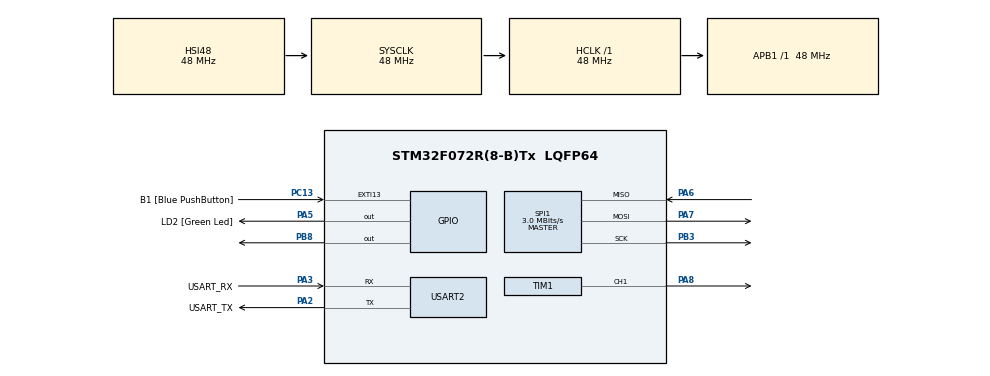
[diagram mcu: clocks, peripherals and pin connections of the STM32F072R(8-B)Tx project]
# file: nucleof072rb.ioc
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Mcu.Family=STM32F0
Mcu.Name=STM32F072R(8-B)Tx
Mcu.Package=LQFP64
PA13.GPIO_Label=TMS
PA13.Mode=Serial_Wire
PA13.Signal=SYS_SWDIO
PA14.GPIO_Label=TCK
PA14.Mode=Serial_Wire
PA14.Signal=SYS_SWCLK
PA2.GPIO_Label=USART_TX
PA2.GPIO_Mode=GPIO_MODE_AF_PP
PA2.GPIO_PuPd=GPIO_NOPULL
PA2.GPIO_Speed=GPIO_SPEED_FREQ_LOW
PA2.Mode=Asynchronous
PA2.Signal=USART2_TX
PA3.GPIO_Label=USART_RX
PA3.GPIO_Mode=GPIO_MODE_AF_PP
PA3.GPIO_PuPd=GPIO_NOPULL
PA3.GPIO_Speed=GPIO_SPEED_FREQ_LOW
PA3.Mode=Asynchronous
PA3.Signal=USART2_RX
PA5.GPIO_Label=LD2 [Green Led]
PA5.GPIO_Mode=GPIO_MODE_OUTPUT_PP
PA5.GPIO_PuPd=GPIO_NOPULL
PA5.GPIO_Speed=GPIO_SPEED_FREQ_LOW
PA5.Signal=GPIO_Output
PA6.Mode=Full_Duplex_Master
PA6.Signal=SPI1_MISO
PA7.Mode=Full_Duplex_Master
PA7.Signal=SPI1_MOSI
PA8.Signal=S_TIM1_CH1
PB3.Mode=Full_Duplex_Master
PB3.Signal=SPI1_SCK
PB8.Signal=GPIO_Output
PC13.GPIO_Label=B1 [Blue PushButton]
PC13.GPIO_ModeDefaultEXTI=GPIO_MODE_IT_FALLING
PC13.Signal=GPXTI13
PC14-OSC32_IN.Mode=LSE-External-Oscillator
PC14-OSC32_IN.Signal=RCC_OSC32_IN
PC15-OSC32_OUT.Mode=LSE-External-Oscillator
PC15-OSC32_OUT.Signal=RCC_OSC32_OUT
PF0-OSC_IN.Mode=HSE-External-Clock-Source
PF0-OSC_IN.Signal=RCC_OSC_IN
PF1-OSC_OUT.Signal=RCC_OSC_OUT
ProjectManager.HeapSize=0x200
ProjectManager.StackSize=0x400
ProjectManager.TargetToolchain=STM32CubeIDE
RCC.AHBFreq_Value=48000000
RCC.APB1Freq_Value=48000000
RCC.APB1TimFreq_Value=48000000
RCC.FLatency-AdvancedSettings=FLASH_LATENCY_1
RCC.HCLKFreq_Value=48000000
RCC.PLLDivider=RCC_PREDIV_DIV2
RCC.PLLMUL=RCC_PLL_MUL12
RCC.PREFETCH_ENABLE-AdvancedSettings=1
RCC.SYSCLKFreq_VALUE=48000000
RCC.SYSCLKSource=RCC_SYSCLKSOURCE_HSI48
SH.S_TIM1_CH1.0=TIM1_CH1,PWM Generation1 CH1
SPI1.BaudRatePrescaler=SPI_BAUDRATEPRESCALER_16
SPI1.CLKPhase=SPI_PHASE_1EDGE
SPI1.CalculateBaudRate=3.0 MBits/s
SPI1.DataSize=SPI_DATASIZE_8BIT
SPI1.Direction=SPI_DIRECTION_2LINES
SPI1.Mode=SPI_MODE_MASTER
SPI1.VirtualType=VM_MASTER
TIM1.Channel-PWM\ Generation1\ CH1=TIM_CHANNEL_1
TIM1.Period=60000
TIM1.Prescaler=15
USART2.VirtualMode=VM_ASYNC
USART2.VirtualMode-Asynchronous=VM_ASYNC
VP_TIM1_VS_ClockSourceINT.Mode=Internal
board=NUCLEO-F072RB

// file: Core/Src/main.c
/* USER CODE BEGIN Header */
/**
  ******************************************************************************
  * @file           : main.c
  * @brief          : Main program body
  ******************************************************************************
  * @attention
  *
  * <h2><center>&copy; Copyright (c) 2021 STMicroelectronics.
  * All rights reserved.</center></h2>
  *
  * This software component is licensed by ST under BSD 3-Clause license,
  * the "License"; You may not use this file except in compliance with the
  * License. You may obtain a copy of the License at:
  *                        opensource.org/licenses/BSD-3-Clause
  *
  ******************************************************************************
  */
/* USER CODE END Header */
#include "main.h"
#include "spi.h"
#include "tim.h"
#include "usart.h"
#include "gpio.h"

/* USER CODE BEGIN PV */

// We choose a prescaler of 14 so that we can have a higher resolution in our duty cycle
#define COUNTER_PERIOD 64000

#define MAX_ADC 1023
/* USER CODE END PV */

void SystemClock_Config(void);

int main(void)
{

  /* MCU Configuration--------------------------------------------------------*/

  /* Reset of all peripherals, Initializes the Flash interface and the Systick. */
  HAL_Init();

  /* Configure the system clock */
  SystemClock_Config();

  /* Initialize all configured peripherals */
  MX_GPIO_Init();
  MX_USART2_UART_Init();
  MX_SPI1_Init();
  MX_TIM1_Init();
  /* USER CODE BEGIN 2 */

  // The transmit buffer includes start bit, the bit to select channel 0 on single end, and the dont care bits, refer to figure 6-1
  uint8_t tx_buff[3] = {0x1, 0x80, 0x0};
  // The receive buffer is empty until we receive the data
  uint8_t rx_buff[3] = {0, 0, 0};

  HAL_TIM_PWM_Start(&htim1, TIM_CHANNEL_1);

  uint16_t steps_active = 3200;
  __HAL_TIM_SET_COMPARE(&htim1, TIM_CHANNEL_1, steps_active);

  HAL_GPIO_WritePin(GPIOB, GPIO_PIN_8, GPIO_PIN_SET);

  /* USER CODE END 2 */

  /* Infinite loop */
  while (1)
  {
    /* USER CODE BEGIN 3 */

	// Since chip select is active low we set it to low
	HAL_GPIO_WritePin(GPIOB, GPIO_PIN_8, GPIO_PIN_RESET);

	// now transmit data and receive the 10 bits
	HAL_SPI_TransmitReceive(&hspi1, tx_buff, rx_buff, 3, HAL_MAX_DELAY);

	HAL_GPIO_WritePin(GPIOB, GPIO_PIN_8, GPIO_PIN_SET); // Set cs to high again

	// Calculate the count needed, the SPI max signal is 10 bits so the max value is 2047
	uint16_t pot_input = ((rx_buff[1] & 0b11) << 8) | (rx_buff[2]);

	// Calculate the steps active for the pwm control
	steps_active = 3200 + 3200 * (pot_input/MAX_ADC) ;

	// Set the pwm output to the motor
	__HAL_TIM_SET_COMPARE(&htim1, TIM_CHANNEL_1, steps_active);

	HAL_Delay(10);

  }
  /* USER CODE END 3 */
}

void SystemClock_Config(void)
{
  RCC_OscInitTypeDef RCC_OscInitStruct = {0};
  RCC_ClkInitTypeDef RCC_ClkInitStruct = {0};
  RCC_PeriphCLKInitTypeDef PeriphClkInit = {0};

  /** Initializes the RCC Oscillators according to the specified parameters
  * in the RCC_OscInitTypeDef structure.
  */
  RCC_OscInitStruct.OscillatorType = RCC_OSCILLATORTYPE_HSI48;
  RCC_OscInitStruct.HSI48State = RCC_HSI48_ON;
  RCC_OscInitStruct.PLL.PLLState = RCC_PLL_NONE;
  if (HAL_RCC_OscConfig(&RCC_OscInitStruct) != HAL_OK)
  {
    Error_Handler();
  }
  /** Initializes the CPU, AHB and APB buses clocks
  */
  RCC_ClkInitStruct.ClockType = RCC_CLOCKTYPE_HCLK|RCC_CLOCKTYPE_SYSCLK
                              |RCC_CLOCKTYPE_PCLK1;
  RCC_ClkInitStruct.SYSCLKSource = RCC_SYSCLKSOURCE_HSI48;
  RCC_ClkInitStruct.AHBCLKDivider = RCC_SYSCLK_DIV1;
  RCC_ClkInitStruct.APB1CLKDivider = RCC_HCLK_DIV1;

  if (HAL_RCC_ClockConfig(&RCC_ClkInitStruct, FLASH_LATENCY_1) != HAL_OK)
  {
    Error_Handler();
  }
  PeriphClkInit.PeriphClockSelection = RCC_PERIPHCLK_USART2;
  PeriphClkInit.Usart2ClockSelection = RCC_USART2CLKSOURCE_PCLK1;
  if (HAL_RCCEx_PeriphCLKConfig(&PeriphClkInit) != HAL_OK)
  {
    Error_Handler();
  }
}

void Error_Handler(void)
{
  __disable_irq();
  while (1)
  {
  }
}

/************************ (C) COPYRIGHT STMicroelectronics *****END OF FILE****/
